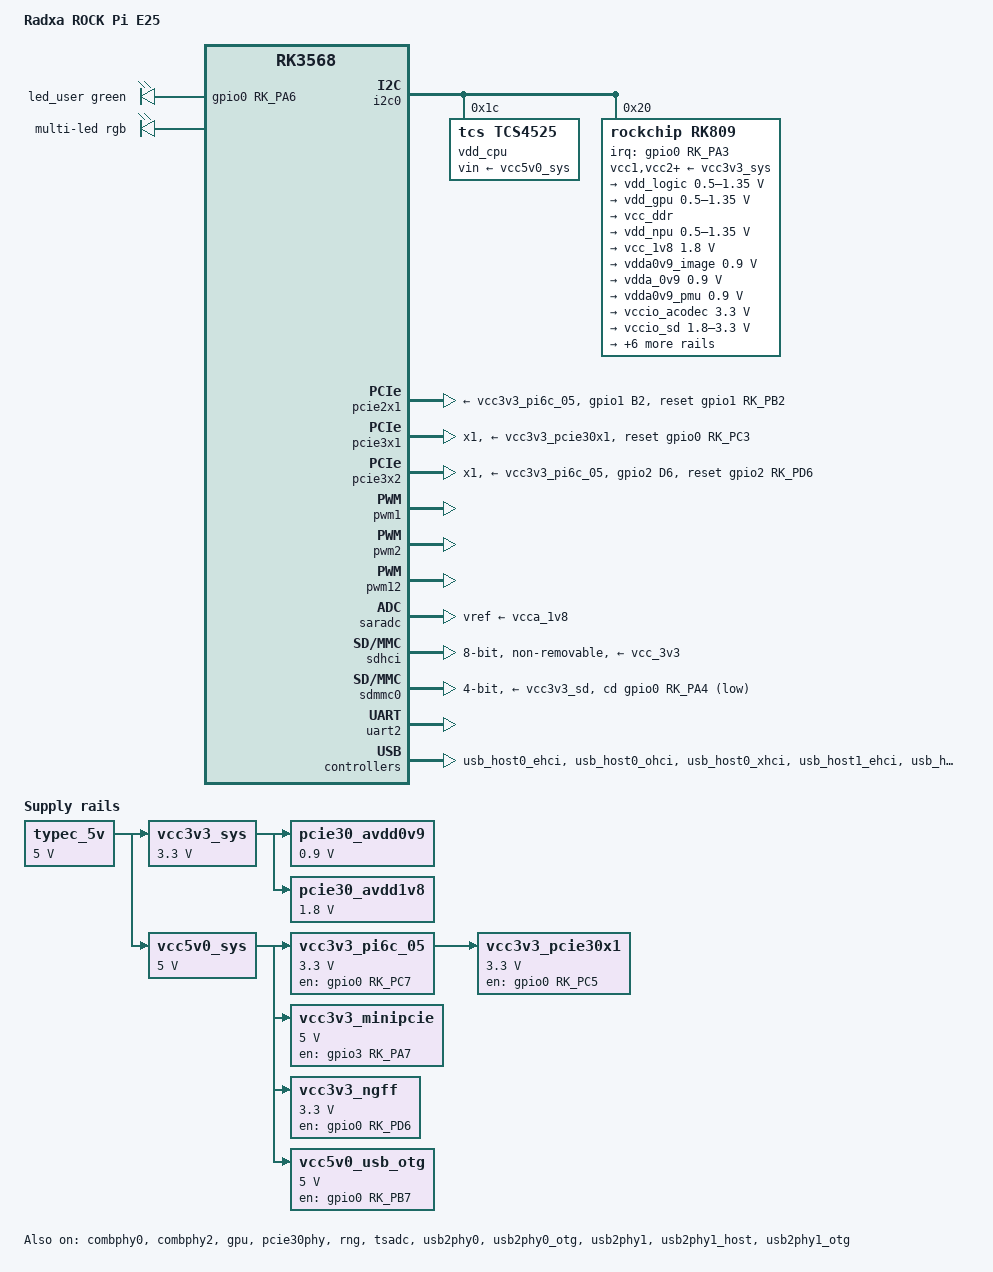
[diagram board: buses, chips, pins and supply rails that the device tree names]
// SPDX-License-Identifier: (GPL-2.0+ OR MIT)
// Copyright (c) 2022 AmadeusGhost <amadeus@jmu.edu.cn>

/dts-v1/;
#include <dt-bindings/gpio/gpio.h>
#include <dt-bindings/leds/common.h>
#include <dt-bindings/pinctrl/rockchip.h>
#include "rk3568.dtsi"

/ {
	model = "Radxa ROCK Pi E25";
	compatible = "radxa,rockpi-e25", "rockchip,rk3568";

	aliases {
		mmc0 = &sdmmc0;
		mmc1 = &sdhci;
	};

	chosen: chosen {
		stdout-path = "serial2:1500000n8";
	};

	gpio-leds {
		compatible = "gpio-leds";

		led_user: led-0 {
			gpios = <&gpio0 RK_PA6 GPIO_ACTIVE_HIGH>;
			function = LED_FUNCTION_HEARTBEAT;
			color = <LED_COLOR_ID_GREEN>;
			linux,default-trigger = "heartbeat";
			pinctrl-names = "default";
			pinctrl-0 = <&led_user_en>;
		};
	};

	pwm-leds {
		compatible = "pwm-leds-multicolor";

		multi-led {
			color = <LED_COLOR_ID_RGB>;
			max-brightness = <255>;

			led-red {
				color = <LED_COLOR_ID_RED>;
				pwms = <&pwm1 0 1000000 0>;
			};

			led-green {
				color = <LED_COLOR_ID_GREEN>;
				pwms = <&pwm2 0 1000000 0>;
			};

			led-blue {
				color = <LED_COLOR_ID_BLUE>;
				pwms = <&pwm12 0 1000000 0>;
			};
		};
	};

	typec_5v: typec-5v {
		compatible = "regulator-fixed";
		regulator-name = "typec_5v";
		regulator-always-on;
		regulator-boot-on;
		regulator-min-microvolt = <5000000>;
		regulator-max-microvolt = <5000000>;
	};

	pcie30_avdd0v9: pcie30-avdd0v9 {
		compatible = "regulator-fixed";
		regulator-name = "pcie30_avdd0v9";
		regulator-always-on;
		regulator-boot-on;
		regulator-min-microvolt = <900000>;
		regulator-max-microvolt = <900000>;
		vin-supply = <&vcc3v3_sys>;
	};

	pcie30_avdd1v8: pcie30-avdd1v8 {
		compatible = "regulator-fixed";
		regulator-name = "pcie30_avdd1v8";
		regulator-always-on;
		regulator-boot-on;
		regulator-min-microvolt = <1800000>;
		regulator-max-microvolt = <1800000>;
		vin-supply = <&vcc3v3_sys>;
	};

	/* actually fed by vcc5v0_sys, dependent
	 * on pi6c clock generator
	 */
	vcc3v3_pcie30x1: vcc3v3-pcie30x1 {
		compatible = "regulator-fixed";
		enable-active-high;
		gpio = <&gpio0 RK_PC5 GPIO_ACTIVE_HIGH>;
		pinctrl-names = "default";
		pinctrl-0 = <&pcie30x1_enable_h>;
		regulator-name = "vcc3v3_pcie30x1";
		regulator-min-microvolt = <3300000>;
		regulator-max-microvolt = <3300000>;
		vin-supply = <&vcc3v3_pi6c_05>;
	};

	vcc3v3_pi6c_05: vcc3v3-pi6c-05 {
		compatible = "regulator-fixed";
		enable-active-high;
		gpios = <&gpio0 RK_PC7 GPIO_ACTIVE_HIGH>;
		pinctrl-names = "default";
		pinctrl-0 = <&pcie_enable_h>;
		regulator-name = "vcc3v3_pcie";
		regulator-min-microvolt = <3300000>;
		regulator-max-microvolt = <3300000>;
		vin-supply = <&vcc5v0_sys>;
	};

	vcc3v3_minipcie: vcc3v3-minipcie {
		compatible = "regulator-fixed";
		enable-active-high;
		gpio = <&gpio3 RK_PA7 GPIO_ACTIVE_HIGH>;
		pinctrl-names = "default";
		pinctrl-0 = <&minipcie_enable_h>;
		regulator-name = "vcc3v3_minipcie";
		regulator-min-microvolt = <5000000>;
		regulator-max-microvolt = <5000000>;
		vin-supply = <&vcc5v0_sys>;
	};

	vcc3v3_ngff: vcc3v3-ngff {
		compatible = "regulator-fixed";
		enable-active-high;
		gpio = <&gpio0 RK_PD6 GPIO_ACTIVE_HIGH>;
		pinctrl-names = "default";
		pinctrl-0 = <&ngffpcie_enable_h>;
		regulator-name = "vcc3v3_ngff";
		regulator-min-microvolt = <3300000>;
		regulator-max-microvolt = <3300000>;
		vin-supply = <&vcc5v0_sys>;
	};

	vcc3v3_sys: vcc3v3-sys {
		compatible = "regulator-fixed";
		regulator-name = "vcc3v3_sys";
		regulator-always-on;
		regulator-boot-on;
		regulator-min-microvolt = <3300000>;
		regulator-max-microvolt = <3300000>;
		vin-supply = <&typec_5v>;
	};

	vcc5v0_sys: vcc5v0-sys {
		compatible = "regulator-fixed";
		regulator-name = "vcc5v0_sys";
		regulator-always-on;
		regulator-boot-on;
		regulator-min-microvolt = <5000000>;
		regulator-max-microvolt = <5000000>;
		vin-supply = <&typec_5v>;
	};

	vcc5v0_usb_otg: vcc5v0-usb-otg {
		compatible = "regulator-fixed";
		enable-active-high;
		gpio = <&gpio0 RK_PB7 GPIO_ACTIVE_HIGH>;
		pinctrl-names = "default";
		pinctrl-0 = <&vcc5v0_usb_otg_en>;
		regulator-name = "vcc5v0_usb_otg";
		regulator-min-microvolt = <5000000>;
		regulator-max-microvolt = <5000000>;
		vin-supply = <&vcc5v0_sys>;
	};
};

&combphy0 {
	status = "okay";
};

&combphy2 {
	status = "okay";
};

&cpu0 {
	cpu-supply = <&vdd_cpu>;
};

&cpu1 {
	cpu-supply = <&vdd_cpu>;
};

&cpu2 {
	cpu-supply = <&vdd_cpu>;
};

&cpu3 {
	cpu-supply = <&vdd_cpu>;
};

#ifdef DTS_NO_LEGACY
&display_subsystem {
	status = "disabled";
};

&gpu {
	mali-supply = <&vdd_gpu>;
	status = "okay";
};
#endif

&i2c0 {
	status = "okay";

	vdd_cpu: regulator@1c {
		compatible = "tcs,tcs4525";
		reg = <0x1c>;
		fcs,suspend-voltage-selector = <1>;
		regulator-name = "vdd_cpu";
		regulator-always-on;
		regulator-boot-on;
		regulator-min-microvolt = <800000>;
		regulator-max-microvolt = <1150000>;
		regulator-ramp-delay = <2300>;
		vin-supply = <&vcc5v0_sys>;

		regulator-state-mem {
			regulator-off-in-suspend;
		};
	};

	rk809: pmic@20 {
		compatible = "rockchip,rk809";
		reg = <0x20>;
		interrupt-parent = <&gpio0>;
		interrupts = <RK_PA3 IRQ_TYPE_LEVEL_LOW>;
		#clock-cells = <1>;
		pinctrl-names = "default";
		pinctrl-0 = <&pmic_int>;
		rockchip,system-power-controller;
		wakeup-source;

		vcc1-supply = <&vcc3v3_sys>;
		vcc2-supply = <&vcc3v3_sys>;
		vcc3-supply = <&vcc3v3_sys>;
		vcc4-supply = <&vcc3v3_sys>;
		vcc5-supply = <&vcc3v3_sys>;
		vcc6-supply = <&vcc3v3_sys>;
		vcc7-supply = <&vcc3v3_sys>;
		vcc8-supply = <&vcc3v3_sys>;
		vcc9-supply = <&vcc3v3_sys>;

		regulators {
			vdd_logic: DCDC_REG1 {
				regulator-name = "vdd_logic";
				regulator-always-on;
				regulator-boot-on;
				regulator-init-microvolt = <900000>;
				regulator-initial-mode = <0x2>;
				regulator-min-microvolt = <500000>;
				regulator-max-microvolt = <1350000>;
				regulator-ramp-delay = <6001>;

				regulator-state-mem {
					regulator-off-in-suspend;
				};
			};

			vdd_gpu: DCDC_REG2 {
				regulator-name = "vdd_gpu";
				regulator-always-on;
				regulator-init-microvolt = <900000>;
				regulator-initial-mode = <0x2>;
				regulator-min-microvolt = <500000>;
				regulator-max-microvolt = <1350000>;
				regulator-ramp-delay = <6001>;

				regulator-state-mem {
					regulator-off-in-suspend;
				};
			};

			vcc_ddr: DCDC_REG3 {
				regulator-name = "vcc_ddr";
				regulator-always-on;
				regulator-boot-on;
				regulator-initial-mode = <0x2>;

				regulator-state-mem {
					regulator-on-in-suspend;
				};
			};

			vdd_npu: DCDC_REG4 {
				regulator-name = "vdd_npu";
				regulator-init-microvolt = <900000>;
				regulator-initial-mode = <0x2>;
				regulator-min-microvolt = <500000>;
				regulator-max-microvolt = <1350000>;
				regulator-ramp-delay = <6001>;

				regulator-state-mem {
					regulator-off-in-suspend;
				};
			};

			vcc_1v8: DCDC_REG5 {
				regulator-name = "vcc_1v8";
				regulator-always-on;
				regulator-boot-on;
				regulator-min-microvolt = <1800000>;
				regulator-max-microvolt = <1800000>;

				regulator-state-mem {
					regulator-off-in-suspend;
				};
			};

			vdda0v9_image: LDO_REG1 {
				regulator-name = "vdda0v9_image";
				regulator-min-microvolt = <900000>;
				regulator-max-microvolt = <900000>;

				regulator-state-mem {
					regulator-off-in-suspend;
				};
			};

			vdda_0v9: LDO_REG2 {
				regulator-name = "vdda_0v9";
				regulator-always-on;
				regulator-boot-on;
				regulator-min-microvolt = <900000>;
				regulator-max-microvolt = <900000>;

				regulator-state-mem {
					regulator-off-in-suspend;
				};
			};

			vdda0v9_pmu: LDO_REG3 {
				regulator-name = "vdda0v9_pmu";
				regulator-always-on;
				regulator-boot-on;
				regulator-min-microvolt = <900000>;
				regulator-max-microvolt = <900000>;

				regulator-state-mem {
					regulator-on-in-suspend;
					regulator-suspend-microvolt = <900000>;
				};
			};

			vccio_acodec: LDO_REG4 {
				regulator-name = "vccio_acodec";
				regulator-always-on;
				regulator-min-microvolt = <3300000>;
				regulator-max-microvolt = <3300000>;

				regulator-state-mem {
					regulator-off-in-suspend;
				};
			};

			vccio_sd: LDO_REG5 {
				regulator-name = "vccio_sd";
				regulator-min-microvolt = <1800000>;
				regulator-max-microvolt = <3300000>;

				regulator-state-mem {
					regulator-off-in-suspend;
				};
			};

			vcc3v3_pmu: LDO_REG6 {
				regulator-name = "vcc3v3_pmu";
				regulator-always-on;
				regulator-boot-on;
				regulator-min-microvolt = <3300000>;
				regulator-max-microvolt = <3300000>;

				regulator-state-mem {
					regulator-on-in-suspend;
					regulator-suspend-microvolt = <3300000>;
				};
			};

			vcca_1v8: LDO_REG7 {
				regulator-name = "vcca_1v8";
				regulator-always-on;
				regulator-boot-on;
				regulator-min-microvolt = <1800000>;
				regulator-max-microvolt = <1800000>;

				regulator-state-mem {
					regulator-off-in-suspend;
				};
			};

			vcca1v8_pmu: LDO_REG8 {
				regulator-name = "vcca1v8_pmu";
				regulator-always-on;
				regulator-boot-on;
				regulator-min-microvolt = <1800000>;
				regulator-max-microvolt = <1800000>;

				regulator-state-mem {
					regulator-on-in-suspend;
					regulator-suspend-microvolt = <1800000>;
				};
			};

			vcca1v8_image: LDO_REG9 {
				regulator-name = "vcca1v8_image";
				regulator-min-microvolt = <1800000>;
				regulator-max-microvolt = <1800000>;

				regulator-state-mem {
					regulator-off-in-suspend;
				};
			};

			vcc_3v3: SWITCH_REG1 {
				regulator-name = "vcc_3v3";
				regulator-always-on;
				regulator-boot-on;

				regulator-state-mem {
					regulator-off-in-suspend;
				};
			};

			vcc3v3_sd: SWITCH_REG2 {
				regulator-name = "vcc3v3_sd";

				regulator-state-mem {
					regulator-off-in-suspend;
				};
			};
		};
	};
};

&pcie2x1 {
	pinctrl-names = "default";
	pinctrl-0 = <&pcie20_reset_h>;
	reset-gpios = <&gpio1 RK_PB2 GPIO_ACTIVE_HIGH>;
	vpcie3v3-supply = <&vcc3v3_pi6c_05>;
	status = "okay";
};

&pcie30phy {
	data-lanes = <1 2>;
	status = "okay";
};

&pcie3x1 {
	num-lanes = <1>;
	pinctrl-names = "default";
	pinctrl-0 = <&pcie30x1m0_pins>;
	reset-gpios = <&gpio0 RK_PC3 GPIO_ACTIVE_HIGH>;
	vpcie3v3-supply = <&vcc3v3_pcie30x1>;
	status = "okay";
};

&pcie3x2 {
	num-lanes = <1>;
	pinctrl-names = "default";
	pinctrl-0 = <&pcie30x2_reset_h>;
	reset-gpios = <&gpio2 RK_PD6 GPIO_ACTIVE_HIGH>;
	vpcie3v3-supply = <&vcc3v3_pi6c_05>;
	status = "okay";
};

&pinctrl {
	leds {
		led_user_en: led_user_en {
			rockchip,pins = <0 RK_PA6 RK_FUNC_GPIO &pcfg_pull_none>;
		};
	};

	pcie {
		pcie20_reset_h: pcie20-reset-h {
			rockchip,pins = <1 RK_PB2 RK_FUNC_GPIO &pcfg_pull_none>;
		};

		pcie30x1_enable_h: pcie30x1-enable-h {
			rockchip,pins = <0 RK_PC5 RK_FUNC_GPIO &pcfg_pull_none>;
		};

		pcie30x2_reset_h: pcie30x2-reset-h {
			rockchip,pins = <2 RK_PD6 RK_FUNC_GPIO &pcfg_pull_none>;
		};

		pcie_enable_h: pcie-enable-h {
			rockchip,pins = <0 RK_PC7 RK_FUNC_GPIO &pcfg_pull_none>;
		};
	};

	pmic {
		pmic_int: pmic_int {
			rockchip,pins = <0 RK_PA3 RK_FUNC_GPIO &pcfg_pull_up>;
		};
	};

	usb {
		minipcie_enable_h: minipcie-enable-h {
			rockchip,pins = <3 RK_PA7 RK_FUNC_GPIO &pcfg_pull_none>;
		};

		ngffpcie_enable_h: ngffpcie-enable-h {
			rockchip,pins = <0 RK_PD6 RK_FUNC_GPIO &pcfg_pull_none>;
		};

		vcc5v0_usb_otg_en: vcc5v0_usb_otg_en {
			rockchip,pins = <0 RK_PB7 RK_FUNC_GPIO &pcfg_pull_none>;
		};
	};
};

&pmu_io_domains {
	pmuio1-supply = <&vcc3v3_pmu>;
	pmuio2-supply = <&vcc3v3_pmu>;
	vccio1-supply = <&vccio_acodec>;
	vccio2-supply = <&vcc_1v8>;
	vccio3-supply = <&vccio_sd>;
	vccio4-supply = <&vcc_1v8>;
	vccio5-supply = <&vcc_3v3>;
	vccio6-supply = <&vcc_1v8>;
	vccio7-supply = <&vcc_3v3>;
	status = "okay";
};

&pwm1 {
	status = "okay";
};

&pwm2 {
	status = "okay";
};

&pwm12 {
	pinctrl-names = "default";
	pinctrl-0 = <&pwm12m1_pins>;
	status = "okay";
};

&rng {
	status = "okay";
};

&saradc {
	vref-supply = <&vcca_1v8>;
	status = "okay";
};

&sdhci {
	bus-width = <8>;
	max-frequency = <200000000>;
	non-removable;
	pinctrl-names = "default";
	pinctrl-0 = <&emmc_bus8 &emmc_clk &emmc_cmd &emmc_datastrobe>;
	vmmc-supply = <&vcc_3v3>;
	vqmmc-supply = <&vcc_1v8>;
	status = "okay";
};

&sdmmc0 {
	bus-width = <4>;
	cap-sd-highspeed;
	cd-gpios = <&gpio0 RK_PA4 GPIO_ACTIVE_LOW>;
	/* Also used in pcie30x1_clkreqnm0 */
	disable-wp;
	pinctrl-names = "default";
	pinctrl-0 = <&sdmmc0_bus4 &sdmmc0_clk &sdmmc0_cmd>;
	sd-uhs-sdr104;
	vmmc-supply = <&vcc3v3_sd>;
	vqmmc-supply = <&vccio_sd>;
	status = "okay";
};

&tsadc {
	rockchip,hw-tshut-mode = <1>;
	rockchip,hw-tshut-polarity = <0>;
	status = "okay";
};

&uart2 {
	status = "okay";
};

&usb_host0_ehci {
	status = "okay";
};

&usb_host0_ohci {
	status = "okay";
};

&usb_host0_xhci {
	extcon = <&usb2phy0>;
	status = "okay";
};

&usb_host1_ehci {
	status = "okay";
};

&usb_host1_ohci {
	status = "okay";
};

&usb2phy0 {
	status = "okay";
};

&usb2phy0_otg {
	phy-supply = <&vcc5v0_usb_otg>;
	status = "okay";
};

&usb2phy1 {
	status = "okay";
};

&usb2phy1_host {
	phy-supply = <&vcc3v3_minipcie>;
	status = "okay";
};

&usb2phy1_otg {
	phy-supply = <&vcc3v3_ngff>;
	status = "okay";
};
